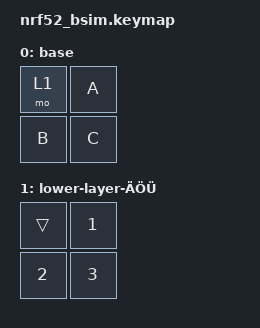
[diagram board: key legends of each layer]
#include <behaviors.dtsi>
#include <dt-bindings/zmk/keys.h>
#include <dt-bindings/zmk/kscan_mock.h>

&kscan {
    /delete-property/ exit-after;
    events =
    <ZMK_MOCK_PRESS(0,0,5000)
    ZMK_MOCK_RELEASE(0,0,1000)>;
};
/ {
    keymap {
        compatible = "zmk,keymap";

        default_layer {
            display-name = "base";
            bindings = <
            &mo 1 &kp A
            &kp B &kp C>;
        };

        // 18 bytes: the 17 byte limit on the wire falls inside the last character
        lower_layer {
            display-name = "lower-layer-ÄÖÜ";
            bindings = <
            &trans &kp N1
            &kp N2 &kp N3>;
        };
    };
};
